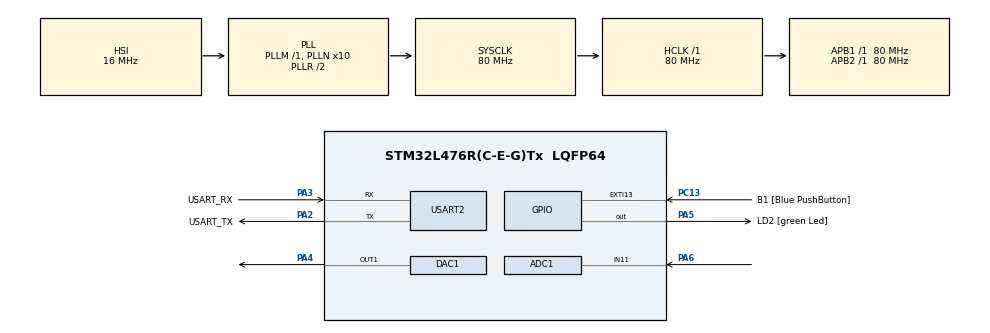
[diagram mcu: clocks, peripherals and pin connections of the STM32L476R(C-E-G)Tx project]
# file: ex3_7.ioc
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ADC1.Channel-0\#ChannelRegularConversion=ADC_CHANNEL_11
ADC1.ContinuousConvMode=ENABLE
ADC1.DMAContinuousRequests=ENABLE
ADC1.ExternalTrigConv=ADC_EXTERNALTRIG_T6_TRGO
ADC1.NbrOfConversionFlag=1
ADC1.OffsetNumber-0\#ChannelRegularConversion=ADC_OFFSET_NONE
ADC1.Rank-0\#ChannelRegularConversion=1
ADC1.SamplingTime-0\#ChannelRegularConversion=ADC_SAMPLETIME_92CYCLES_5
ADC1.master=1
DAC1.DAC_Trigger-DAC_OUT1=DAC_TRIGGER_T7_TRGO
Dma.ADC1.0.Direction=DMA_PERIPH_TO_MEMORY
Dma.ADC1.0.Instance=DMA1_Channel1
Dma.ADC1.0.MemDataAlignment=DMA_MDATAALIGN_BYTE
Dma.ADC1.0.MemInc=DMA_MINC_ENABLE
Dma.ADC1.0.Mode=DMA_CIRCULAR
Dma.ADC1.0.PeriphDataAlignment=DMA_PDATAALIGN_BYTE
Dma.ADC1.0.PeriphInc=DMA_PINC_DISABLE
Dma.ADC1.0.Priority=DMA_PRIORITY_LOW
Dma.DAC_CH1.1.Direction=DMA_MEMORY_TO_PERIPH
Dma.DAC_CH1.1.Instance=DMA1_Channel3
Dma.DAC_CH1.1.MemDataAlignment=DMA_MDATAALIGN_BYTE
Dma.DAC_CH1.1.MemInc=DMA_MINC_ENABLE
Dma.DAC_CH1.1.Mode=DMA_CIRCULAR
Dma.DAC_CH1.1.PeriphDataAlignment=DMA_PDATAALIGN_BYTE
Dma.DAC_CH1.1.PeriphInc=DMA_PINC_DISABLE
Dma.DAC_CH1.1.Priority=DMA_PRIORITY_LOW
Dma.Request0=ADC1
Dma.Request1=DAC_CH1
Mcu.Family=STM32L4
Mcu.Name=STM32L476R(C-E-G)Tx
Mcu.Package=LQFP64
NVIC.DMA1_Channel1_IRQn=true\:0\:0\:false\:false\:true\:false\:true
NVIC.DMA1_Channel3_IRQn=true\:0\:0\:false\:false\:true\:false\:true
NVIC.PriorityGroup=NVIC_PRIORITYGROUP_4
NVIC.TIM6_DAC_IRQn=true\:0\:0\:false\:false\:true\:true\:true
NVIC.TIM7_IRQn=true\:0\:0\:false\:false\:true\:true\:true
PA13\ (JTMS-SWDIO).GPIO_Label=TMS
PA13\ (JTMS-SWDIO).Mode=Serial_Wire
PA13\ (JTMS-SWDIO).Signal=SYS_JTMS-SWDIO
PA14\ (JTCK-SWCLK).GPIO_Label=TCK
PA14\ (JTCK-SWCLK).Mode=Serial_Wire
PA14\ (JTCK-SWCLK).Signal=SYS_JTCK-SWCLK
PA2.GPIO_Label=USART_TX
PA2.GPIO_Mode=GPIO_MODE_AF_PP
PA2.GPIO_PuPd=GPIO_NOPULL
PA2.GPIO_Speed=GPIO_SPEED_FREQ_VERY_HIGH
PA2.Mode=Asynchronous
PA2.Signal=USART2_TX
PA3.GPIO_Label=USART_RX
PA3.GPIO_Mode=GPIO_MODE_AF_PP
PA3.GPIO_PuPd=GPIO_NOPULL
PA3.GPIO_Speed=GPIO_SPEED_FREQ_VERY_HIGH
PA3.Mode=Asynchronous
PA3.Signal=USART2_RX
PA4.Signal=COMP_DAC11_group
PA5.GPIO_Label=LD2 [green Led]
PA5.GPIO_ModeDefaultOutputPP=GPIO_MODE_OUTPUT_PP
PA5.GPIO_PuPd=GPIO_NOPULL
PA5.GPIO_Speed=GPIO_SPEED_FREQ_LOW
PA5.Signal=GPIO_Output
PA6.Signal=ADCx_IN11
PB3\ (JTDO-TRACESWO).GPIO_Label=SWO
PB3\ (JTDO-TRACESWO).Signal=SYS_JTDO-SWO
PC13.GPIO_Label=B1 [Blue PushButton]
PC13.GPIO_ModeDefaultEXTI=GPIO_MODE_IT_FALLING
PC13.GPIO_PuPd=GPIO_NOPULL
PC13.Signal=GPXTI13
PC14-OSC32_IN\ (PC14).Mode=LSE-External-Oscillator
PC14-OSC32_IN\ (PC14).Signal=RCC_OSC32_IN
PC15-OSC32_OUT\ (PC15).Mode=LSE-External-Oscillator
PC15-OSC32_OUT\ (PC15).Signal=RCC_OSC32_OUT
PH0-OSC_IN\ (PH0).Signal=RCC_OSC_IN
PH1-OSC_OUT\ (PH1).Signal=RCC_OSC_OUT
ProjectManager.HeapSize=0x200
ProjectManager.StackSize=0x400
ProjectManager.TargetToolchain=STM32CubeIDE
RCC.ADCFreq_Value=64000000
RCC.AHBFreq_Value=80000000
RCC.APB1Freq_Value=80000000
RCC.APB1TimFreq_Value=80000000
RCC.APB2Freq_Value=80000000
RCC.APB2TimFreq_Value=80000000
RCC.CortexFreq_Value=80000000
RCC.HCLKFreq_Value=80000000
RCC.HSE_VALUE=8000000
RCC.HSI_VALUE=16000000
RCC.MSI_VALUE=4000000
RCC.PLLN=10
RCC.PLLSourceVirtual=RCC_PLLSOURCE_HSI
RCC.PREFETCH_ENABLE=1
RCC.SYSCLKFreq_VALUE=80000000
RCC.SYSCLKSource=RCC_SYSCLKSOURCE_PLLCLK
RCC.USBFreq_Value=64000000
RCC.VCOOutputFreq_Value=160000000
SH.ADCx_IN11.0=ADC1_IN11,IN11-Single-Ended
SH.COMP_DAC11_group.0=DAC1_OUT1,DAC_OUT1
TIM6.AutoReloadPreload=TIM_AUTORELOAD_PRELOAD_ENABLE
TIM6.Period=4999
TIM6.Prescaler=7999
TIM6.TIM_MasterOutputTrigger=TIM_TRGO_UPDATE
TIM7.AutoReloadPreload=TIM_AUTORELOAD_PRELOAD_ENABLE
TIM7.Period=19999
TIM7.Prescaler=7999
TIM7.TIM_MasterOutputTrigger=TIM_TRGO_UPDATE
USART2.VirtualMode-Asynchronous=VM_ASYNC
VP_TIM6_VS_ClockSourceINT.Mode=Enable_Timer
VP_TIM7_VS_ClockSourceINT.Mode=Enable_Timer
board=NUCLEO-L476RG

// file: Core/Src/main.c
/* USER CODE BEGIN Header */
/**
  ******************************************************************************
  * @file           : main.c
  * @brief          : Main program body
  ******************************************************************************
  * @attention
  *
  * <h2><center>&copy; Copyright (c) 2021 STMicroelectronics.
  * All rights reserved.</center></h2>
  *
  * This software component is licensed by ST under BSD 3-Clause license,
  * the "License"; You may not use this file except in compliance with the
  * License. You may obtain a copy of the License at:
  *                        opensource.org/licenses/BSD-3-Clause
  *
  ******************************************************************************
  */
/* USER CODE END Header */
#include "main.h"
#include "adc.h"
#include "dac.h"
#include "dma.h"
#include "tim.h"
#include "usart.h"
#include "gpio.h"

/* USER CODE BEGIN Includes */
#include <stdio.h>
/* USER CODE END Includes */

/* USER CODE BEGIN PV */
uint16_t adc_buf;
uint8_t Value[8] = {0, 38, 76, 114, 152, 190, 228, 255};
volatile int flag1;
volatile int flag2;
/* USER CODE END PV */

void SystemClock_Config(void);
/* USER CODE BEGIN PFP */
int _write(int file, char *ptr, int len) {
	HAL_UART_Transmit(&huart2, (uint8_t*)ptr, len, 50);
	return len;
}
void HAL_TIM_PeriodElapsedCallback(TIM_HandleTypeDef *htim){
	if(htim == &htim6){
		flag1=1;
	}

	if(htim == &htim7){
		flag2=1;
	}
}

/* USER CODE END PFP */

int main(void)
{
  /* USER CODE BEGIN 1 */

	uint8_t Value[] = {0, 38, 114, 190, 228, 255};
  /* USER CODE END 1 */

  /* MCU Configuration--------------------------------------------------------*/

  /* Reset of all peripherals, Initializes the Flash interface and the Systick. */
  HAL_Init();

  /* Configure the system clock */
  SystemClock_Config();

  /* Initialize all configured peripherals */
  MX_GPIO_Init();
  MX_DMA_Init();
  MX_USART2_UART_Init();
  MX_ADC1_Init();
  MX_TIM6_Init();
  MX_TIM7_Init();
  MX_DAC1_Init();
  /* USER CODE BEGIN 2 */
  HAL_TIM_Base_Start_IT(&htim6);
  HAL_TIM_Base_Start_IT(&htim7);
  HAL_DAC_SetValue(&hdac1 , DAC_CHANNEL_1, DAC_ALIGN_8B_R, 0);
  HAL_DAC_Start_DMA(&hdac1,DAC_CHANNEL_1,(uint32_t*) &Value[0], 6, DAC_ALIGN_8B_R);
  HAL_ADC_Start_DMA(&hadc1, (uint32_t*) &adc_buf, 1);
  /* USER CODE END 2 */

  /* Infinite loop */
  /* USER CODE BEGIN WHILE */
  while (1)
  {

	  if(flag1==1){
		  printf("Zmierzona wartosc: %d \r\n", adc_buf);
		  flag1=0;
	  }
	  HAL_Delay(10);
    /* USER CODE END WHILE */

  }
}

void SystemClock_Config(void)
{
  RCC_OscInitTypeDef RCC_OscInitStruct = {0};
  RCC_ClkInitTypeDef RCC_ClkInitStruct = {0};
  RCC_PeriphCLKInitTypeDef PeriphClkInit = {0};

  /** Initializes the RCC Oscillators according to the specified parameters
  * in the RCC_OscInitTypeDef structure.
  */
  RCC_OscInitStruct.OscillatorType = RCC_OSCILLATORTYPE_HSI;
  RCC_OscInitStruct.HSIState = RCC_HSI_ON;
  RCC_OscInitStruct.HSICalibrationValue = RCC_HSICALIBRATION_DEFAULT;
  RCC_OscInitStruct.PLL.PLLState = RCC_PLL_ON;
  RCC_OscInitStruct.PLL.PLLSource = RCC_PLLSOURCE_HSI;
  RCC_OscInitStruct.PLL.PLLM = 1;
  RCC_OscInitStruct.PLL.PLLN = 10;
  RCC_OscInitStruct.PLL.PLLP = RCC_PLLP_DIV7;
  RCC_OscInitStruct.PLL.PLLQ = RCC_PLLQ_DIV2;
  RCC_OscInitStruct.PLL.PLLR = RCC_PLLR_DIV2;
  if (HAL_RCC_OscConfig(&RCC_OscInitStruct) != HAL_OK)
  {
    Error_Handler();
  }
  /** Initializes the CPU, AHB and APB buses clocks
  */
  RCC_ClkInitStruct.ClockType = RCC_CLOCKTYPE_HCLK|RCC_CLOCKTYPE_SYSCLK
                              |RCC_CLOCKTYPE_PCLK1|RCC_CLOCKTYPE_PCLK2;
  RCC_ClkInitStruct.SYSCLKSource = RCC_SYSCLKSOURCE_PLLCLK;
  RCC_ClkInitStruct.AHBCLKDivider = RCC_SYSCLK_DIV1;
  RCC_ClkInitStruct.APB1CLKDivider = RCC_HCLK_DIV1;
  RCC_ClkInitStruct.APB2CLKDivider = RCC_HCLK_DIV1;

  if (HAL_RCC_ClockConfig(&RCC_ClkInitStruct, FLASH_LATENCY_4) != HAL_OK)
  {
    Error_Handler();
  }
  PeriphClkInit.PeriphClockSelection = RCC_PERIPHCLK_USART2|RCC_PERIPHCLK_ADC;
  PeriphClkInit.Usart2ClockSelection = RCC_USART2CLKSOURCE_PCLK1;
  PeriphClkInit.AdcClockSelection = RCC_ADCCLKSOURCE_PLLSAI1;
  PeriphClkInit.PLLSAI1.PLLSAI1Source = RCC_PLLSOURCE_HSI;
  PeriphClkInit.PLLSAI1.PLLSAI1M = 1;
  PeriphClkInit.PLLSAI1.PLLSAI1N = 8;
  PeriphClkInit.PLLSAI1.PLLSAI1P = RCC_PLLP_DIV7;
  PeriphClkInit.PLLSAI1.PLLSAI1Q = RCC_PLLQ_DIV2;
  PeriphClkInit.PLLSAI1.PLLSAI1R = RCC_PLLR_DIV2;
  PeriphClkInit.PLLSAI1.PLLSAI1ClockOut = RCC_PLLSAI1_ADC1CLK;
  if (HAL_RCCEx_PeriphCLKConfig(&PeriphClkInit) != HAL_OK)
  {
    Error_Handler();
  }
  /** Configure the main internal regulator output voltage
  */
  if (HAL_PWREx_ControlVoltageScaling(PWR_REGULATOR_VOLTAGE_SCALE1) != HAL_OK)
  {
    Error_Handler();
  }
}

void Error_Handler(void)
{
}

/************************ (C) COPYRIGHT STMicroelectronics *****END OF FILE****/
